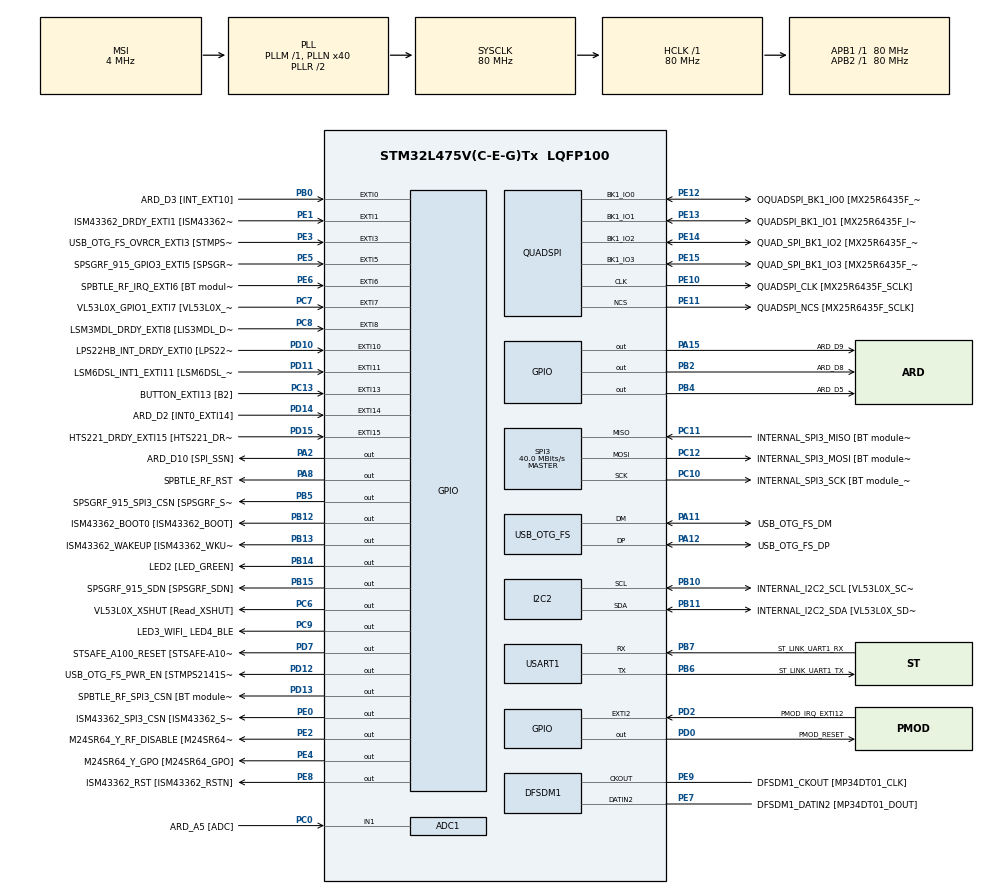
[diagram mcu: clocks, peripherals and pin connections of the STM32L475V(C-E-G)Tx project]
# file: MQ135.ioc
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ADC1.Channel-3\#ChannelRegularConversion=ADC_CHANNEL_1
ADC1.NbrOfConversionFlag=1
ADC1.OffsetNumber-3\#ChannelRegularConversion=ADC_OFFSET_NONE
ADC1.Rank-3\#ChannelRegularConversion=1
ADC1.SamplingTime-3\#ChannelRegularConversion=ADC_SAMPLETIME_2CYCLES_5
ADC1.master=1
Mcu.Family=STM32L4
Mcu.Name=STM32L475V(C-E-G)Tx
Mcu.Package=LQFP100
NVIC.EXTI15_10_IRQn=true\:0\:0\:false\:false\:true\:true\:true
NVIC.EXTI9_5_IRQn=true\:0\:0\:false\:false\:true\:true\:true
NVIC.PriorityGroup=NVIC_PRIORITYGROUP_4
PA0.GPIO_Label=ARD_D1 [UART4_TX]
PA0.Signal=UART4_TX
PA1.GPIO_Label=ARD_D0 [UART4_RX]
PA1.Signal=UART4_RX
PA10.GPIO_Label=USB_OTG_FS_ID
PA10.Signal=USB_OTG_FS_ID
PA11.GPIO_Label=USB_OTG_FS_DM
PA11.Mode=Device_Only
PA11.Signal=USB_OTG_FS_DM
PA12.GPIO_Label=USB_OTG_FS_DP
PA12.Mode=Device_Only
PA12.Signal=USB_OTG_FS_DP
PA13\ (JTMS-SWDIO).GPIO_Label=SYS_JTMS_SWDIO
PA13\ (JTMS-SWDIO).Mode=Serial_Wire
PA13\ (JTMS-SWDIO).Signal=SYS_JTMS-SWDIO
PA14\ (JTCK-SWCLK).GPIO_Label=SYS_JTCK_SWCLK
PA14\ (JTCK-SWCLK).Mode=Serial_Wire
PA14\ (JTCK-SWCLK).Signal=SYS_JTCK-SWCLK
PA15\ (JTDI).GPIO_Label=ARD_D9
PA15\ (JTDI).Signal=GPIO_Output
PA2.GPIO_Label=ARD_D10 [SPI_SSN]
PA2.Signal=GPIO_Output
PA3.GPIO_Label=ARD_D4
PA3.Signal=S_TIM2_CH4
PA4.GPIO_Label=ARD_D7
PA4.Signal=ADCx_IN9
PA5.GPIO_Label=ARD_D13 [SPI1_SCK]
PA5.Signal=SPI1_SCK
PA6.GPIO_Label=ARD_D12 [SPI1_MISO]
PA6.Signal=SPI1_MISO
PA7.GPIO_Label=ARD_D11 [SPI1_MOSI]
PA7.Signal=SPI1_MOSI
PA8.GPIO_Label=SPBTLE_RF_RST
PA8.Signal=GPIO_Output
PA9.GPIO_Label=USB_OTG_FS_VBUS [STMPS2141STR_OUT]
PA9.Signal=USB_OTG_FS_VBUS
PB0.GPIO_Label=ARD_D3 [INT_EXT10]
PB0.Signal=GPXTI0
PB1.GPIO_Label=ARD_D6 [ADC1_IN6]
PB1.Signal=ADCx_IN16
PB10.GPIO_Label=INTERNAL_I2C2_SCL [VL53L0X_SCL]
PB10.Mode=I2C
PB10.Signal=I2C2_SCL
PB11.GPIO_Label=INTERNAL_I2C2_SDA [VL53L0X_SDA]
PB11.Mode=I2C
PB11.Signal=I2C2_SDA
PB12.GPIO_Label=ISM43362_BOOT0 [ISM43362_BOOT]
PB12.Signal=GPIO_Output
PB13.GPIO_Label=ISM43362_WAKEUP [ISM43362_WKUP]
PB13.Signal=GPIO_Output
PB14.GPIO_Label=LED2 [LED_GREEN]
PB14.Signal=GPIO_Output
PB15.GPIO_Label=SPSGRF_915_SDN [SPSGRF_SDN]
PB15.Signal=GPIO_Output
PB2.GPIO_Label=ARD_D8
PB2.Signal=GPIO_Output
PB3\ (JTDO-TRACESWO).GPIO_Label=SYS_JTD0_SWO
PB3\ (JTDO-TRACESWO).Signal=SYS_JTDO-SWO
PB4\ (NJTRST).GPIO_Label=ARD_D5
PB4\ (NJTRST).Signal=GPIO_Output
PB5.GPIO_Label=SPSGRF_915_SPI3_CSN [SPSGRF_SPI_CS]
PB5.PinState=GPIO_PIN_SET
PB5.Signal=GPIO_Output
PB6.GPIO_Label=ST_LINK_UART1_TX
PB6.Mode=Asynchronous
PB6.Signal=USART1_TX
PB7.GPIO_Label=ST_LINK_UART1_RX
PB7.Mode=Asynchronous
PB7.Signal=USART1_RX
PB8.GPIO_Label=ARD_D15 [I2C1_SCL]
PB8.Signal=I2C1_SCL
PB9.GPIO_Label=ARD_D14 [I2C1_SDA]
PB9.Signal=I2C1_SDA
PC0.GPIO_Label=ARD_A5 [ADC]
PC0.Signal=ADCx_IN1
PC1.GPIO_Label=ARD_A4 [ADC]
PC1.Signal=ADCx_IN2
PC10.GPIO_Label=INTERNAL_SPI3_SCK [BT module_SPI_SCLK] [ISM43362_SCK]
PC10.Mode=Full_Duplex_Master
PC10.Signal=SPI3_SCK
PC11.GPIO_Label=INTERNAL_SPI3_MISO [BT module_SPI_MISO] [ISM43362_MISO]
PC11.Mode=Full_Duplex_Master
PC11.Signal=SPI3_MISO
PC12.GPIO_Label=INTERNAL_SPI3_MOSI [BT module_SPI_MOSI] [ISM43362_MOSI]
PC12.Mode=Full_Duplex_Master
PC12.Signal=SPI3_MOSI
PC13.GPIO_Label=BUTTON_EXTI13 [B2]
PC13.GPIO_ModeDefaultEXTI=GPIO_MODE_IT_FALLING
PC13.Signal=GPXTI13
PC14-OSC32_IN\ (PC14).Mode=LSE-External-Oscillator
PC14-OSC32_IN\ (PC14).Signal=RCC_OSC32_IN
PC15-OSC32_OUT\ (PC15).Mode=LSE-External-Oscillator
PC15-OSC32_OUT\ (PC15).Signal=RCC_OSC32_OUT
PC2.GPIO_Label=ARD_A3 [ADC]
PC2.Signal=ADCx_IN3
PC3.GPIO_Label=ARD_A2 [ADC]
PC3.Signal=ADCx_IN4
PC4.GPIO_Label=ARD_A1 [ADC]
PC4.Signal=ADCx_IN13
PC5.GPIO_Label=ARD_A0 [ADC]
PC5.Signal=ADCx_IN14
PC6.GPIO_Label=VL53L0X_XSHUT [Read_XSHUT]
PC6.Signal=GPIO_Output
PC7.GPIO_Label=VL53L0X_GPIO1_EXTI7 [VL53L0X_GPIO1]
PC7.Signal=GPXTI7
PC8.GPIO_Label=LSM3MDL_DRDY_EXTI8 [LIS3MDL_DRDY]
PC8.Signal=GPXTI8
PC9.GPIO_Label=LED3_WIFI_ LED4_BLE
PC9.Signal=GPIO_Output
PD0.GPIO_Label=PMOD_RESET
PD0.Signal=GPIO_Output
PD1.GPIO_Label=PMOD_SPI2_SCK
PD1.Signal=SPI2_SCK
PD10.GPIO_Label=LPS22HB_INT_DRDY_EXTI0 [LPS22HB_INT_DRDY] 
PD10.Signal=GPXTI10
PD11.GPIO_Label=LSM6DSL_INT1_EXTI11 [LSM6DSL_INT1]
PD11.Signal=GPXTI11
PD12.GPIO_Label=USB_OTG_FS_PWR_EN [STMPS2141STR_EN]
PD12.Signal=GPIO_Output
PD13.GPIO_Label=SPBTLE_RF_SPI3_CSN [BT module_SPI_CS]
PD13.PinState=GPIO_PIN_SET
PD13.Signal=GPIO_Output
PD14.GPIO_Label=ARD_D2 [INT0_EXTI14]
PD14.Signal=GPXTI14
PD15.GPIO_Label=HTS221_DRDY_EXTI15 [HTS221_DRDY]
PD15.Signal=GPXTI15
PD2.GPIO_Label=PMOD_IRQ_EXTI12
PD2.Signal=GPXTI2
PD3.GPIO_Label=PMOD_UART2_CTS
PD3.Signal=USART2_CTS
PD4.GPIO_Label=PMOD_UART2_RTS
PD4.Signal=USART2_RTS
PD5.GPIO_Label=PMOD_UART2_TX
PD5.Signal=USART2_TX
PD6.GPIO_Label=PMOD_UART2_RX
PD6.Signal=USART2_RX
PD7.GPIO_Label=STSAFE_A100_RESET [STSAFE-A100_RESET]
PD7.Signal=GPIO_Output
PD8.GPIO_Label=INTERNAL_UART3_TX [ISM43362_RX]
PD8.Signal=USART3_TX
PD9.GPIO_Label=INTERNAL_UART3_RX [ISM43362_TX]
PD9.Signal=USART3_RX
PE0.GPIO_Label=ISM43362_SPI3_CSN [ISM43362_SSN]
PE0.PinState=GPIO_PIN_SET
PE0.Signal=GPIO_Output
PE1.GPIO_Label=ISM43362_DRDY_EXTI1 [ISM43362_DATARDY]
PE1.Signal=GPXTI1
PE10.GPIO_Label=QUADSPI_CLK [MX25R6435F_SCLK]
PE10.Mode=Single Bank
PE10.Signal=QUADSPI_CLK
PE11.GPIO_Label=QUADSPI_NCS [MX25R6435F_SCLK]
PE11.Mode=Single Bank
PE11.Signal=QUADSPI_NCS
PE12.GPIO_Label=OQUADSPI_BK1_IO0 [MX25R6435F_IO0]
PE12.Mode=Single Bank
PE12.Signal=QUADSPI_BK1_IO0
PE13.GPIO_Label=QUADSPI_BK1_IO1 [MX25R6435F_IO1]
PE13.Mode=Single Bank
PE13.Signal=QUADSPI_BK1_IO1
PE14.GPIO_Label=QUAD_SPI_BK1_IO2 [MX25R6435F_IO2]
PE14.Mode=Single Bank
PE14.Signal=QUADSPI_BK1_IO2
PE15.GPIO_Label=QUAD_SPI_BK1_IO3 [MX25R6435F_IO3]
PE15.Mode=Single Bank
PE15.Signal=QUADSPI_BK1_IO3
PE2.GPIO_Label=M24SR64_Y_RF_DISABLE [M24SR64_RFDIS]
PE2.Signal=GPIO_Output
PE3.GPIO_Label=USB_OTG_FS_OVRCR_EXTI3 [STMPS2141STR_FAULT]
PE3.Signal=GPXTI3
PE4.GPIO_Label=M24SR64_Y_GPO [M24SR64_GPO]
PE4.Signal=GPIO_Output
PE5.GPIO_Label=SPSGRF_915_GPIO3_EXTI5 [SPSGRF_GPIO_3]
PE5.Signal=GPXTI5
PE6.GPIO_Label=SPBTLE_RF_IRQ_EXTI6 [BT module_SPI_IRQ]
PE6.Signal=GPXTI6
PE7.GPIO_Label=DFSDM1_DATIN2 [MP34DT01_DOUT]
PE7.Signal=S_DATAIN2DFSDM1
PE8.GPIO_Label=ISM43362_RST [ISM43362_RSTN]
PE8.Signal=GPIO_Output
PE9.GPIO_Label=DFSDM1_CKOUT [MP34DT01_CLK]
PE9.Signal=S_CKOUTDFSDM1
ProjectManager.HeapSize=0x200
ProjectManager.StackSize=0x400
ProjectManager.TargetToolchain=TrueSTUDIO
RCC.ADCFreq_Value=48000000
RCC.AHBFreq_Value=80000000
RCC.APB1Freq_Value=80000000
RCC.APB1TimFreq_Value=80000000
RCC.APB2Freq_Value=80000000
RCC.APB2TimFreq_Value=80000000
RCC.CortexFreq_Value=80000000
RCC.HCLKFreq_Value=80000000
RCC.HSE_VALUE=8000000
RCC.HSI_VALUE=16000000
RCC.MSI_VALUE=4000000
RCC.PLLN=40
RCC.PLLSAI1N=24
RCC.SYSCLKFreq_VALUE=80000000
RCC.SYSCLKSource=RCC_SYSCLKSOURCE_PLLCLK
RCC.USBFreq_Value=48000000
RCC.VCOOutputFreq_Value=160000000
SH.ADCx_IN1.0=ADC1_IN1,IN1-Single-Ended
SH.ADCx_IN13.0=ADC1_IN13
SH.ADCx_IN14.0=ADC1_IN14
SH.ADCx_IN16.0=ADC1_IN16
SH.ADCx_IN2.0=ADC1_IN2
SH.ADCx_IN3.0=ADC1_IN3
SH.ADCx_IN4.0=ADC1_IN4
SH.ADCx_IN9.0=ADC1_IN9
SH.S_CKOUTDFSDM1.0=DFSDM1_CKOUT,CKOUT
SH.S_CKOUTDFSDM1.1=DFSDM1_CKOUT,PDM_SPI_Input_from_ch12_and_Internal_Clock
SH.S_DATAIN2DFSDM1.0=DFSDM1_DATIN2,PDM_SPI_Input_from_ch12_and_Internal_Clock
SH.S_TIM2_CH4.0=TIM2_CH4
SPI3.CalculateBaudRate=40.0 MBits/s
SPI3.Direction=SPI_DIRECTION_2LINES
SPI3.Mode=SPI_MODE_MASTER
SPI3.VirtualType=VM_MASTER
USART1.VirtualMode-Asynchronous=VM_ASYNC
USB_OTG_FS.VirtualMode=Device_Only
board=B-L475E-IOT01A1

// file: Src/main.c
/* USER CODE BEGIN Header */
/**
  ******************************************************************************
  * @file           : main.c
  * @brief          : Main program body
  ******************************************************************************
  * @attention
  *
  * <h2><center>&copy; Copyright (c) 2019 STMicroelectronics.
  * All rights reserved.</center></h2>
  *
  * This software component is licensed by ST under BSD 3-Clause license,
  * the "License"; You may not use this file except in compliance with the
  * License. You may obtain a copy of the License at:
  *                        opensource.org/licenses/BSD-3-Clause
  *
  ******************************************************************************
  */
/* USER CODE END Header */

#include "main.h"

/* USER CODE BEGIN Includes */
#include "stm32l475e_iot01.h"
#include "stm32l475e_iot01_tsensor.h"
#include "stm32l475e_iot01_hsensor.h"
#include "stm32l475e_iot01_psensor.h"
#include <math.h>
/* USER CODE END Includes */

ADC_HandleTypeDef hadc1;

DFSDM_Channel_HandleTypeDef hdfsdm1_channel1;

I2C_HandleTypeDef hi2c2;

QSPI_HandleTypeDef hqspi;

SPI_HandleTypeDef hspi3;

UART_HandleTypeDef huart1;

PCD_HandleTypeDef hpcd_USB_OTG_FS;

void SystemClock_Config(void);
static void MX_GPIO_Init(void);
static void MX_ADC1_Init(void);
static void MX_DFSDM1_Init(void);
static void MX_I2C2_Init(void);
static void MX_QUADSPI_Init(void);
static void MX_SPI3_Init(void);
static void MX_USART1_UART_Init(void);
static void MX_USB_OTG_FS_PCD_Init(void);

/* USER CODE BEGIN 0 */
float temp_value = 0; // Measured temperature value
float hmd_value = 0; // Measured humidity value
float pre_value = 0;

char str_tmp[100] = ""; // Formatted message to display the temperature value
char str_hmd[100] = "";
char str_pre[100] = "";

unsigned int analog=0;
char str_analog[100] = "";

uint8_t msg1[] = "****** Temperature Humidity Pressure values measurement ******\n\n\r";
uint8_t msg2[] = "=====> Initialize Temperature/Humidity/Pressure sensor HTS221 \r\n";
uint8_t msg3[] = "=====> Temperature sensor HTS221 initialized \r\n ";
uint8_t msg4[] = "=====> Humidity sensor HTS221 initialized \r\n ";
uint8_t msg5[] = "=====> Pressure sensor HTS221 initialized \r\n ";
/* USER CODE END 0 */

int main(void)
{

  /* MCU Configuration--------------------------------------------------------*/

  /* Reset of all peripherals, Initializes the Flash interface and the Systick. */
  HAL_Init();

  /* Configure the system clock */
  SystemClock_Config();

  /* Initialize all configured peripherals */
  MX_GPIO_Init();
  MX_ADC1_Init();
  MX_DFSDM1_Init();
  MX_I2C2_Init();
  MX_QUADSPI_Init();
  MX_SPI3_Init();
  MX_USART1_UART_Init();
  MX_USB_OTG_FS_PCD_Init();

  /* USER CODE BEGIN 2 */
  HAL_UART_Transmit(&huart1,msg1,sizeof(msg1),1000);
  HAL_UART_Transmit(&huart1,msg2,sizeof(msg2),1000);

  BSP_TSENSOR_Init();
  BSP_HSENSOR_Init();
  BSP_PSENSOR_Init();

  HAL_UART_Transmit(&huart1,msg3,sizeof(msg3),1000);
  HAL_UART_Transmit(&huart1,msg3,sizeof(msg4),1000);
  HAL_UART_Transmit(&huart1,msg3,sizeof(msg5),1000);
  /* USER CODE END 2 */

  /* Infinite loop */
  while (1)
  {
	  	  	  temp_value = BSP_TSENSOR_ReadTemp();
	 	      hmd_value = BSP_HSENSOR_ReadHumidity();
	 	      pre_value = BSP_PSENSOR_ReadPressure();

	 	      int hmdInt1 = hmd_value;
	 	      int preInt1 = pre_value;

	 	  	  int tmpInt1 = temp_value;
	 	  	  float tmpFrac = temp_value - tmpInt1;
	 	  	  int tmpInt2 = trunc(tmpFrac * 100);

	 	  	  // *********ADC**************
	 		  HAL_ADC_Start(&hadc1);// Démarage du module ADC.
	 		  HAL_ADC_PollForConversion(&hadc1, 1000);// On saisie le temps maximal de la lecture = 1 s.
	 		  analog = HAL_ADC_GetValue(&hadc1); // on recupère notre valeur du ADC.
	 		  HAL_ADC_Stop(&hadc1); // on arrête notre ADC.
	 		  // *******  Fin ADC **********

	 	  	  snprintf(str_tmp,100," TEMPERATURE = %d.%02d\n\r", tmpInt1, tmpInt2);
	 	  	  HAL_UART_Transmit(&huart1,( uint8_t * )str_tmp,sizeof(str_tmp),1000);
	 	  	  HAL_Delay(500);
	 	  	  snprintf(str_hmd,100," Humidity= %d \n\r", hmdInt1);
	 	      HAL_UART_Transmit(&huart1,( uint8_t * )str_hmd,sizeof(str_hmd),1000);
	 	      HAL_Delay(500);
	 	      snprintf(str_pre,100," Pressure= %d \n\r", preInt1);

	 	      HAL_UART_Transmit(&huart1,( uint8_t * )str_pre,sizeof(str_pre),1000);
	 	      HAL_Delay(500);

	 	      snprintf(str_analog,100," Analog value = %d\n\r", analog);
	 	      HAL_UART_Transmit(&huart1,( uint8_t * )str_analog,sizeof(str_analog),1000);
	 	      HAL_Delay(500);
  }
}

void SystemClock_Config(void)
{
  RCC_OscInitTypeDef RCC_OscInitStruct = {0};
  RCC_ClkInitTypeDef RCC_ClkInitStruct = {0};
  RCC_PeriphCLKInitTypeDef PeriphClkInit = {0};

  /** Configure LSE Drive Capability
  */
  HAL_PWR_EnableBkUpAccess();
  __HAL_RCC_LSEDRIVE_CONFIG(RCC_LSEDRIVE_LOW);
  /** Initializes the CPU, AHB and APB busses clocks
  */
  RCC_OscInitStruct.OscillatorType = RCC_OSCILLATORTYPE_LSE|RCC_OSCILLATORTYPE_MSI;
  RCC_OscInitStruct.LSEState = RCC_LSE_ON;
  RCC_OscInitStruct.MSIState = RCC_MSI_ON;
  RCC_OscInitStruct.MSICalibrationValue = 0;
  RCC_OscInitStruct.MSIClockRange = RCC_MSIRANGE_6;
  RCC_OscInitStruct.PLL.PLLState = RCC_PLL_ON;
  RCC_OscInitStruct.PLL.PLLSource = RCC_PLLSOURCE_MSI;
  RCC_OscInitStruct.PLL.PLLM = 1;
  RCC_OscInitStruct.PLL.PLLN = 40;
  RCC_OscInitStruct.PLL.PLLP = RCC_PLLP_DIV7;
  RCC_OscInitStruct.PLL.PLLQ = RCC_PLLQ_DIV2;
  RCC_OscInitStruct.PLL.PLLR = RCC_PLLR_DIV2;
  if (HAL_RCC_OscConfig(&RCC_OscInitStruct) != HAL_OK)
  {
    Error_Handler();
  }
  /** Initializes the CPU, AHB and APB busses clocks
  */
  RCC_ClkInitStruct.ClockType = RCC_CLOCKTYPE_HCLK|RCC_CLOCKTYPE_SYSCLK
                              |RCC_CLOCKTYPE_PCLK1|RCC_CLOCKTYPE_PCLK2;
  RCC_ClkInitStruct.SYSCLKSource = RCC_SYSCLKSOURCE_PLLCLK;
  RCC_ClkInitStruct.AHBCLKDivider = RCC_SYSCLK_DIV1;
  RCC_ClkInitStruct.APB1CLKDivider = RCC_HCLK_DIV1;
  RCC_ClkInitStruct.APB2CLKDivider = RCC_HCLK_DIV1;

  if (HAL_RCC_ClockConfig(&RCC_ClkInitStruct, FLASH_LATENCY_4) != HAL_OK)
  {
    Error_Handler();
  }
  PeriphClkInit.PeriphClockSelection = RCC_PERIPHCLK_USART1|RCC_PERIPHCLK_I2C2
                              |RCC_PERIPHCLK_DFSDM1|RCC_PERIPHCLK_USB
                              |RCC_PERIPHCLK_ADC;
  PeriphClkInit.Usart1ClockSelection = RCC_USART1CLKSOURCE_PCLK2;
  PeriphClkInit.I2c2ClockSelection = RCC_I2C2CLKSOURCE_PCLK1;
  PeriphClkInit.AdcClockSelection = RCC_ADCCLKSOURCE_PLLSAI1;
  PeriphClkInit.Dfsdm1ClockSelection = RCC_DFSDM1CLKSOURCE_PCLK;
  PeriphClkInit.UsbClockSelection = RCC_USBCLKSOURCE_PLLSAI1;
  PeriphClkInit.PLLSAI1.PLLSAI1Source = RCC_PLLSOURCE_MSI;
  PeriphClkInit.PLLSAI1.PLLSAI1M = 1;
  PeriphClkInit.PLLSAI1.PLLSAI1N = 24;
  PeriphClkInit.PLLSAI1.PLLSAI1P = RCC_PLLP_DIV7;
  PeriphClkInit.PLLSAI1.PLLSAI1Q = RCC_PLLQ_DIV2;
  PeriphClkInit.PLLSAI1.PLLSAI1R = RCC_PLLR_DIV2;
  PeriphClkInit.PLLSAI1.PLLSAI1ClockOut = RCC_PLLSAI1_48M2CLK|RCC_PLLSAI1_ADC1CLK;
  if (HAL_RCCEx_PeriphCLKConfig(&PeriphClkInit) != HAL_OK)
  {
    Error_Handler();
  }
  /** Configure the main internal regulator output voltage
  */
  if (HAL_PWREx_ControlVoltageScaling(PWR_REGULATOR_VOLTAGE_SCALE1) != HAL_OK)
  {
    Error_Handler();
  }
  /** Enable MSI Auto calibration
  */
  HAL_RCCEx_EnableMSIPLLMode();
}

static void MX_ADC1_Init(void)
{

  ADC_MultiModeTypeDef multimode = {0};
  ADC_ChannelConfTypeDef sConfig = {0};

  /** Common config
  */
  hadc1.Instance = ADC1;
  hadc1.Init.ClockPrescaler = ADC_CLOCK_ASYNC_DIV1;
  hadc1.Init.Resolution = ADC_RESOLUTION_12B;
  hadc1.Init.DataAlign = ADC_DATAALIGN_RIGHT;
  hadc1.Init.ScanConvMode = ADC_SCAN_DISABLE;
  hadc1.Init.EOCSelection = ADC_EOC_SINGLE_CONV;
  hadc1.Init.LowPowerAutoWait = DISABLE;
  hadc1.Init.ContinuousConvMode = DISABLE;
  hadc1.Init.NbrOfConversion = 1;
  hadc1.Init.DiscontinuousConvMode = DISABLE;
  hadc1.Init.ExternalTrigConv = ADC_SOFTWARE_START;
  hadc1.Init.ExternalTrigConvEdge = ADC_EXTERNALTRIGCONVEDGE_NONE;
  hadc1.Init.DMAContinuousRequests = DISABLE;
  hadc1.Init.Overrun = ADC_OVR_DATA_PRESERVED;
  hadc1.Init.OversamplingMode = DISABLE;
  if (HAL_ADC_Init(&hadc1) != HAL_OK)
  {
    Error_Handler();
  }
  /** Configure the ADC multi-mode
  */
  multimode.Mode = ADC_MODE_INDEPENDENT;
  if (HAL_ADCEx_MultiModeConfigChannel(&hadc1, &multimode) != HAL_OK)
  {
    Error_Handler();
  }
  /** Configure Regular Channel
  */
  sConfig.Channel = ADC_CHANNEL_1;
  sConfig.Rank = ADC_REGULAR_RANK_1;
  sConfig.SamplingTime = ADC_SAMPLETIME_2CYCLES_5;
  sConfig.SingleDiff = ADC_SINGLE_ENDED;
  sConfig.OffsetNumber = ADC_OFFSET_NONE;
  sConfig.Offset = 0;
  if (HAL_ADC_ConfigChannel(&hadc1, &sConfig) != HAL_OK)
  {
    Error_Handler();
  }

}

static void MX_DFSDM1_Init(void)
{

  hdfsdm1_channel1.Instance = DFSDM1_Channel1;
  hdfsdm1_channel1.Init.OutputClock.Activation = ENABLE;
  hdfsdm1_channel1.Init.OutputClock.Selection = DFSDM_CHANNEL_OUTPUT_CLOCK_SYSTEM;
  hdfsdm1_channel1.Init.OutputClock.Divider = 2;
  hdfsdm1_channel1.Init.Input.Multiplexer = DFSDM_CHANNEL_EXTERNAL_INPUTS;
  hdfsdm1_channel1.Init.Input.DataPacking = DFSDM_CHANNEL_STANDARD_MODE;
  hdfsdm1_channel1.Init.Input.Pins = DFSDM_CHANNEL_FOLLOWING_CHANNEL_PINS;
  hdfsdm1_channel1.Init.SerialInterface.Type = DFSDM_CHANNEL_SPI_RISING;
  hdfsdm1_channel1.Init.SerialInterface.SpiClock = DFSDM_CHANNEL_SPI_CLOCK_INTERNAL;
  hdfsdm1_channel1.Init.Awd.FilterOrder = DFSDM_CHANNEL_FASTSINC_ORDER;
  hdfsdm1_channel1.Init.Awd.Oversampling = 1;
  hdfsdm1_channel1.Init.Offset = 0;
  hdfsdm1_channel1.Init.RightBitShift = 0x00;
  if (HAL_DFSDM_ChannelInit(&hdfsdm1_channel1) != HAL_OK)
  {
    Error_Handler();
  }

}

static void MX_I2C2_Init(void)
{

  hi2c2.Instance = I2C2;
  hi2c2.Init.Timing = 0x10909CEC;
  hi2c2.Init.OwnAddress1 = 0;
  hi2c2.Init.AddressingMode = I2C_ADDRESSINGMODE_7BIT;
  hi2c2.Init.DualAddressMode = I2C_DUALADDRESS_DISABLE;
  hi2c2.Init.OwnAddress2 = 0;
  hi2c2.Init.OwnAddress2Masks = I2C_OA2_NOMASK;
  hi2c2.Init.GeneralCallMode = I2C_GENERALCALL_DISABLE;
  hi2c2.Init.NoStretchMode = I2C_NOSTRETCH_DISABLE;
  if (HAL_I2C_Init(&hi2c2) != HAL_OK)
  {
    Error_Handler();
  }
  /** Configure Analogue filter
  */
  if (HAL_I2CEx_ConfigAnalogFilter(&hi2c2, I2C_ANALOGFILTER_ENABLE) != HAL_OK)
  {
    Error_Handler();
  }
  /** Configure Digital filter
  */
  if (HAL_I2CEx_ConfigDigitalFilter(&hi2c2, 0) != HAL_OK)
  {
    Error_Handler();
  }

}

static void MX_QUADSPI_Init(void)
{

  /* QUADSPI parameter configuration*/
  hqspi.Instance = QUADSPI;
  hqspi.Init.ClockPrescaler = 255;
  hqspi.Init.FifoThreshold = 1;
  hqspi.Init.SampleShifting = QSPI_SAMPLE_SHIFTING_NONE;
  hqspi.Init.FlashSize = 1;
  hqspi.Init.ChipSelectHighTime = QSPI_CS_HIGH_TIME_1_CYCLE;
  hqspi.Init.ClockMode = QSPI_CLOCK_MODE_0;
  if (HAL_QSPI_Init(&hqspi) != HAL_OK)
  {
    Error_Handler();
  }

}

static void MX_SPI3_Init(void)
{

  /* SPI3 parameter configuration*/
  hspi3.Instance = SPI3;
  hspi3.Init.Mode = SPI_MODE_MASTER;
  hspi3.Init.Direction = SPI_DIRECTION_2LINES;
  hspi3.Init.DataSize = SPI_DATASIZE_4BIT;
  hspi3.Init.CLKPolarity = SPI_POLARITY_LOW;
  hspi3.Init.CLKPhase = SPI_PHASE_1EDGE;
  hspi3.Init.NSS = SPI_NSS_SOFT;
  hspi3.Init.BaudRatePrescaler = SPI_BAUDRATEPRESCALER_2;
  hspi3.Init.FirstBit = SPI_FIRSTBIT_MSB;
  hspi3.Init.TIMode = SPI_TIMODE_DISABLE;
  hspi3.Init.CRCCalculation = SPI_CRCCALCULATION_DISABLE;
  hspi3.Init.CRCPolynomial = 7;
  hspi3.Init.CRCLength = SPI_CRC_LENGTH_DATASIZE;
  hspi3.Init.NSSPMode = SPI_NSS_PULSE_ENABLE;
  if (HAL_SPI_Init(&hspi3) != HAL_OK)
  {
    Error_Handler();
  }

}

static void MX_USART1_UART_Init(void)
{

  huart1.Instance = USART1;
  huart1.Init.BaudRate = 115200;
  huart1.Init.WordLength = UART_WORDLENGTH_8B;
  huart1.Init.StopBits = UART_STOPBITS_1;
  huart1.Init.Parity = UART_PARITY_NONE;
  huart1.Init.Mode = UART_MODE_TX_RX;
  huart1.Init.HwFlowCtl = UART_HWCONTROL_NONE;
  huart1.Init.OverSampling = UART_OVERSAMPLING_16;
  huart1.Init.OneBitSampling = UART_ONE_BIT_SAMPLE_DISABLE;
  huart1.AdvancedInit.AdvFeatureInit = UART_ADVFEATURE_NO_INIT;
  if (HAL_UART_Init(&huart1) != HAL_OK)
  {
    Error_Handler();
  }

}

static void MX_USB_OTG_FS_PCD_Init(void)
{

  hpcd_USB_OTG_FS.Instance = USB_OTG_FS;
  hpcd_USB_OTG_FS.Init.dev_endpoints = 6;
  hpcd_USB_OTG_FS.Init.speed = PCD_SPEED_FULL;
  hpcd_USB_OTG_FS.Init.phy_itface = PCD_PHY_EMBEDDED;
  hpcd_USB_OTG_FS.Init.Sof_enable = DISABLE;
  hpcd_USB_OTG_FS.Init.low_power_enable = DISABLE;
  hpcd_USB_OTG_FS.Init.lpm_enable = DISABLE;
  hpcd_USB_OTG_FS.Init.battery_charging_enable = DISABLE;
  hpcd_USB_OTG_FS.Init.use_dedicated_ep1 = DISABLE;
  hpcd_USB_OTG_FS.Init.vbus_sensing_enable = DISABLE;
  if (HAL_PCD_Init(&hpcd_USB_OTG_FS) != HAL_OK)
  {
    Error_Handler();
  }

}

static void MX_GPIO_Init(void)
{
  GPIO_InitTypeDef GPIO_InitStruct = {0};

  /* GPIO Ports Clock Enable */
  __HAL_RCC_GPIOE_CLK_ENABLE();
  __HAL_RCC_GPIOC_CLK_ENABLE();
  __HAL_RCC_GPIOA_CLK_ENABLE();
  __HAL_RCC_GPIOB_CLK_ENABLE();
  __HAL_RCC_GPIOD_CLK_ENABLE();

  /*Configure GPIO pin Output Level */
  HAL_GPIO_WritePin(GPIOE, M24SR64_Y_RF_DISABLE_Pin|M24SR64_Y_GPO_Pin|ISM43362_RST_Pin, GPIO_PIN_RESET);

  /*Configure GPIO pin Output Level */
  HAL_GPIO_WritePin(GPIOA, ARD_D10_Pin|SPBTLE_RF_RST_Pin|ARD_D9_Pin, GPIO_PIN_RESET);

  /*Configure GPIO pin Output Level */
  HAL_GPIO_WritePin(GPIOB, ARD_D8_Pin|ISM43362_BOOT0_Pin|ISM43362_WAKEUP_Pin|LED2_Pin
                          |SPSGRF_915_SDN_Pin|ARD_D5_Pin, GPIO_PIN_RESET);

  /*Configure GPIO pin Output Level */
  HAL_GPIO_WritePin(GPIOD, USB_OTG_FS_PWR_EN_Pin|PMOD_RESET_Pin|STSAFE_A100_RESET_Pin, GPIO_PIN_RESET);

  /*Configure GPIO pin Output Level */
  HAL_GPIO_WritePin(SPBTLE_RF_SPI3_CSN_GPIO_Port, SPBTLE_RF_SPI3_CSN_Pin, GPIO_PIN_SET);

  /*Configure GPIO pin Output Level */
  HAL_GPIO_WritePin(GPIOC, VL53L0X_XSHUT_Pin|LED3_WIFI__LED4_BLE_Pin, GPIO_PIN_RESET);

  /*Configure GPIO pin Output Level */
  HAL_GPIO_WritePin(SPSGRF_915_SPI3_CSN_GPIO_Port, SPSGRF_915_SPI3_CSN_Pin, GPIO_PIN_SET);

  /*Configure GPIO pin Output Level */
  HAL_GPIO_WritePin(ISM43362_SPI3_CSN_GPIO_Port, ISM43362_SPI3_CSN_Pin, GPIO_PIN_SET);

  /*Configure GPIO pins : M24SR64_Y_RF_DISABLE_Pin M24SR64_Y_GPO_Pin ISM43362_RST_Pin ISM43362_SPI3_CSN_Pin */
  GPIO_InitStruct.Pin = M24SR64_Y_RF_DISABLE_Pin|M24SR64_Y_GPO_Pin|ISM43362_RST_Pin|ISM43362_SPI3_CSN_Pin;
  GPIO_InitStruct.Mode = GPIO_MODE_OUTPUT_PP;
  GPIO_InitStruct.Pull = GPIO_NOPULL;
  GPIO_InitStruct.Speed = GPIO_SPEED_FREQ_LOW;
  HAL_GPIO_Init(GPIOE, &GPIO_InitStruct);

  /*Configure GPIO pins : USB_OTG_FS_OVRCR_EXTI3_Pin SPSGRF_915_GPIO3_EXTI5_Pin SPBTLE_RF_IRQ_EXTI6_Pin ISM43362_DRDY_EXTI1_Pin */
  GPIO_InitStruct.Pin = USB_OTG_FS_OVRCR_EXTI3_Pin|SPSGRF_915_GPIO3_EXTI5_Pin|SPBTLE_RF_IRQ_EXTI6_Pin|ISM43362_DRDY_EXTI1_Pin;
  GPIO_InitStruct.Mode = GPIO_MODE_IT_RISING;
  GPIO_InitStruct.Pull = GPIO_NOPULL;
  HAL_GPIO_Init(GPIOE, &GPIO_InitStruct);

  /*Configure GPIO pin : BUTTON_EXTI13_Pin */
  GPIO_InitStruct.Pin = BUTTON_EXTI13_Pin;
  GPIO_InitStruct.Mode = GPIO_MODE_IT_FALLING;
  GPIO_InitStruct.Pull = GPIO_NOPULL;
  HAL_GPIO_Init(BUTTON_EXTI13_GPIO_Port, &GPIO_InitStruct);

  /*Configure GPIO pins : ARD_D1_Pin ARD_D0_Pin */
  GPIO_InitStruct.Pin = ARD_D1_Pin|ARD_D0_Pin;
  GPIO_InitStruct.Mode = GPIO_MODE_AF_PP;
  GPIO_InitStruct.Pull = GPIO_NOPULL;
  GPIO_InitStruct.Speed = GPIO_SPEED_FREQ_VERY_HIGH;
  GPIO_InitStruct.Alternate = GPIO_AF8_UART4;
  HAL_GPIO_Init(GPIOA, &GPIO_InitStruct);

  /*Configure GPIO pins : ARD_D10_Pin SPBTLE_RF_RST_Pin ARD_D9_Pin */
  GPIO_InitStruct.Pin = ARD_D10_Pin|SPBTLE_RF_RST_Pin|ARD_D9_Pin;
  GPIO_InitStruct.Mode = GPIO_MODE_OUTPUT_PP;
  GPIO_InitStruct.Pull = GPIO_NOPULL;
  GPIO_InitStruct.Speed = GPIO_SPEED_FREQ_LOW;
  HAL_GPIO_Init(GPIOA, &GPIO_InitStruct);

  /*Configure GPIO pin : ARD_D4_Pin */
  GPIO_InitStruct.Pin = ARD_D4_Pin;
  GPIO_InitStruct.Mode = GPIO_MODE_AF_PP;
  GPIO_InitStruct.Pull = GPIO_NOPULL;
  GPIO_InitStruct.Speed = GPIO_SPEED_FREQ_LOW;
  GPIO_InitStruct.Alternate = GPIO_AF1_TIM2;
  HAL_GPIO_Init(ARD_D4_GPIO_Port, &GPIO_InitStruct);

  /*Configure GPIO pins : ARD_D13_Pin ARD_D12_Pin ARD_D11_Pin */
  GPIO_InitStruct.Pin = ARD_D13_Pin|ARD_D12_Pin|ARD_D11_Pin;
  GPIO_InitStruct.Mode = GPIO_MODE_AF_PP;
  GPIO_InitStruct.Pull = GPIO_NOPULL;
  GPIO_InitStruct.Speed = GPIO_SPEED_FREQ_VERY_HIGH;
  GPIO_InitStruct.Alternate = GPIO_AF5_SPI1;
  HAL_GPIO_Init(GPIOA, &GPIO_InitStruct);

  /*Configure GPIO pin : ARD_D3_Pin */
  GPIO_InitStruct.Pin = ARD_D3_Pin;
  GPIO_InitStruct.Mode = GPIO_MODE_IT_RISING;
  GPIO_InitStruct.Pull = GPIO_NOPULL;
  HAL_GPIO_Init(ARD_D3_GPIO_Port, &GPIO_InitStruct);

  /*Configure GPIO pins : ARD_D8_Pin ISM43362_BOOT0_Pin ISM43362_WAKEUP_Pin LED2_Pin
                           SPSGRF_915_SDN_Pin ARD_D5_Pin SPSGRF_915_SPI3_CSN_Pin */
  GPIO_InitStruct.Pin = ARD_D8_Pin|ISM43362_BOOT0_Pin|ISM43362_WAKEUP_Pin|LED2_Pin
                          |SPSGRF_915_SDN_Pin|ARD_D5_Pin|SPSGRF_915_SPI3_CSN_Pin;
  GPIO_InitStruct.Mode = GPIO_MODE_OUTPUT_PP;
  GPIO_InitStruct.Pull = GPIO_NOPULL;
  GPIO_InitStruct.Speed = GPIO_SPEED_FREQ_LOW;
  HAL_GPIO_Init(GPIOB, &GPIO_InitStruct);

  /*Configure GPIO pins : INTERNAL_UART3_TX_Pin INTERNAL_UART3_RX_Pin */
  GPIO_InitStruct.Pin = INTERNAL_UART3_TX_Pin|INTERNAL_UART3_RX_Pin;
  GPIO_InitStruct.Mode = GPIO_MODE_AF_PP;
  GPIO_InitStruct.Pull = GPIO_NOPULL;
  GPIO_InitStruct.Speed = GPIO_SPEED_FREQ_VERY_HIGH;
  GPIO_InitStruct.Alternate = GPIO_AF7_USART3;
  HAL_GPIO_Init(GPIOD, &GPIO_InitStruct);

  /*Configure GPIO pins : LPS22HB_INT_DRDY_EXTI0_Pin LSM6DSL_INT1_EXTI11_Pin ARD_D2_Pin HTS221_DRDY_EXTI15_Pin
                           PMOD_IRQ_EXTI12_Pin */
  GPIO_InitStruct.Pin = LPS22HB_INT_DRDY_EXTI0_Pin|LSM6DSL_INT1_EXTI11_Pin|ARD_D2_Pin|HTS221_DRDY_EXTI15_Pin
                          |PMOD_IRQ_EXTI12_Pin;
  GPIO_InitStruct.Mode = GPIO_MODE_IT_RISING;
  GPIO_InitStruct.Pull = GPIO_NOPULL;
  HAL_GPIO_Init(GPIOD, &GPIO_InitStruct);

  /*Configure GPIO pins : USB_OTG_FS_PWR_EN_Pin SPBTLE_RF_SPI3_CSN_Pin PMOD_RESET_Pin STSAFE_A100_RESET_Pin */
  GPIO_InitStruct.Pin = USB_OTG_FS_PWR_EN_Pin|SPBTLE_RF_SPI3_CSN_Pin|PMOD_RESET_Pin|STSAFE_A100_RESET_Pin;
  GPIO_InitStruct.Mode = GPIO_MODE_OUTPUT_PP;
  GPIO_InitStruct.Pull = GPIO_NOPULL;
  GPIO_InitStruct.Speed = GPIO_SPEED_FREQ_LOW;
  HAL_GPIO_Init(GPIOD, &GPIO_InitStruct);

  /*Configure GPIO pins : VL53L0X_XSHUT_Pin LED3_WIFI__LED4_BLE_Pin */
  GPIO_InitStruct.Pin = VL53L0X_XSHUT_Pin|LED3_WIFI__LED4_BLE_Pin;
  GPIO_InitStruct.Mode = GPIO_MODE_OUTPUT_PP;
  GPIO_InitStruct.Pull = GPIO_NOPULL;
  GPIO_InitStruct.Speed = GPIO_SPEED_FREQ_LOW;
  HAL_GPIO_Init(GPIOC, &GPIO_InitStruct);

  /*Configure GPIO pins : VL53L0X_GPIO1_EXTI7_Pin LSM3MDL_DRDY_EXTI8_Pin */
  GPIO_InitStruct.Pin = VL53L0X_GPIO1_EXTI7_Pin|LSM3MDL_DRDY_EXTI8_Pin;
  GPIO_InitStruct.Mode = GPIO_MODE_IT_RISING;
  GPIO_InitStruct.Pull = GPIO_NOPULL;
  HAL_GPIO_Init(GPIOC, &GPIO_InitStruct);

  /*Configure GPIO pin : PMOD_SPI2_SCK_Pin */
  GPIO_InitStruct.Pin = PMOD_SPI2_SCK_Pin;
  GPIO_InitStruct.Mode = GPIO_MODE_AF_PP;
  GPIO_InitStruct.Pull = GPIO_NOPULL;
  GPIO_InitStruct.Speed = GPIO_SPEED_FREQ_VERY_HIGH;
  GPIO_InitStruct.Alternate = GPIO_AF5_SPI2;
  HAL_GPIO_Init(PMOD_SPI2_SCK_GPIO_Port, &GPIO_InitStruct);

  /*Configure GPIO pins : PMOD_UART2_CTS_Pin PMOD_UART2_RTS_Pin PMOD_UART2_TX_Pin PMOD_UART2_RX_Pin */
  GPIO_InitStruct.Pin = PMOD_UART2_CTS_Pin|PMOD_UART2_RTS_Pin|PMOD_UART2_TX_Pin|PMOD_UART2_RX_Pin;
  GPIO_InitStruct.Mode = GPIO_MODE_AF_PP;
  GPIO_InitStruct.Pull = GPIO_NOPULL;
  GPIO_InitStruct.Speed = GPIO_SPEED_FREQ_VERY_HIGH;
  GPIO_InitStruct.Alternate = GPIO_AF7_USART2;
  HAL_GPIO_Init(GPIOD, &GPIO_InitStruct);

  /*Configure GPIO pins : ARD_D15_Pin ARD_D14_Pin */
  GPIO_InitStruct.Pin = ARD_D15_Pin|ARD_D14_Pin;
  GPIO_InitStruct.Mode = GPIO_MODE_AF_OD;
  GPIO_InitStruct.Pull = GPIO_PULLUP;
  GPIO_InitStruct.Speed = GPIO_SPEED_FREQ_VERY_HIGH;
  GPIO_InitStruct.Alternate = GPIO_AF4_I2C1;
  HAL_GPIO_Init(GPIOB, &GPIO_InitStruct);

  /* EXTI interrupt init*/
  HAL_NVIC_SetPriority(EXTI9_5_IRQn, 0, 0);
  HAL_NVIC_EnableIRQ(EXTI9_5_IRQn);

  HAL_NVIC_SetPriority(EXTI15_10_IRQn, 0, 0);
  HAL_NVIC_EnableIRQ(EXTI15_10_IRQn);

}

void Error_Handler(void)
{
}

/************************ (C) COPYRIGHT STMicroelectronics *****END OF FILE****/
